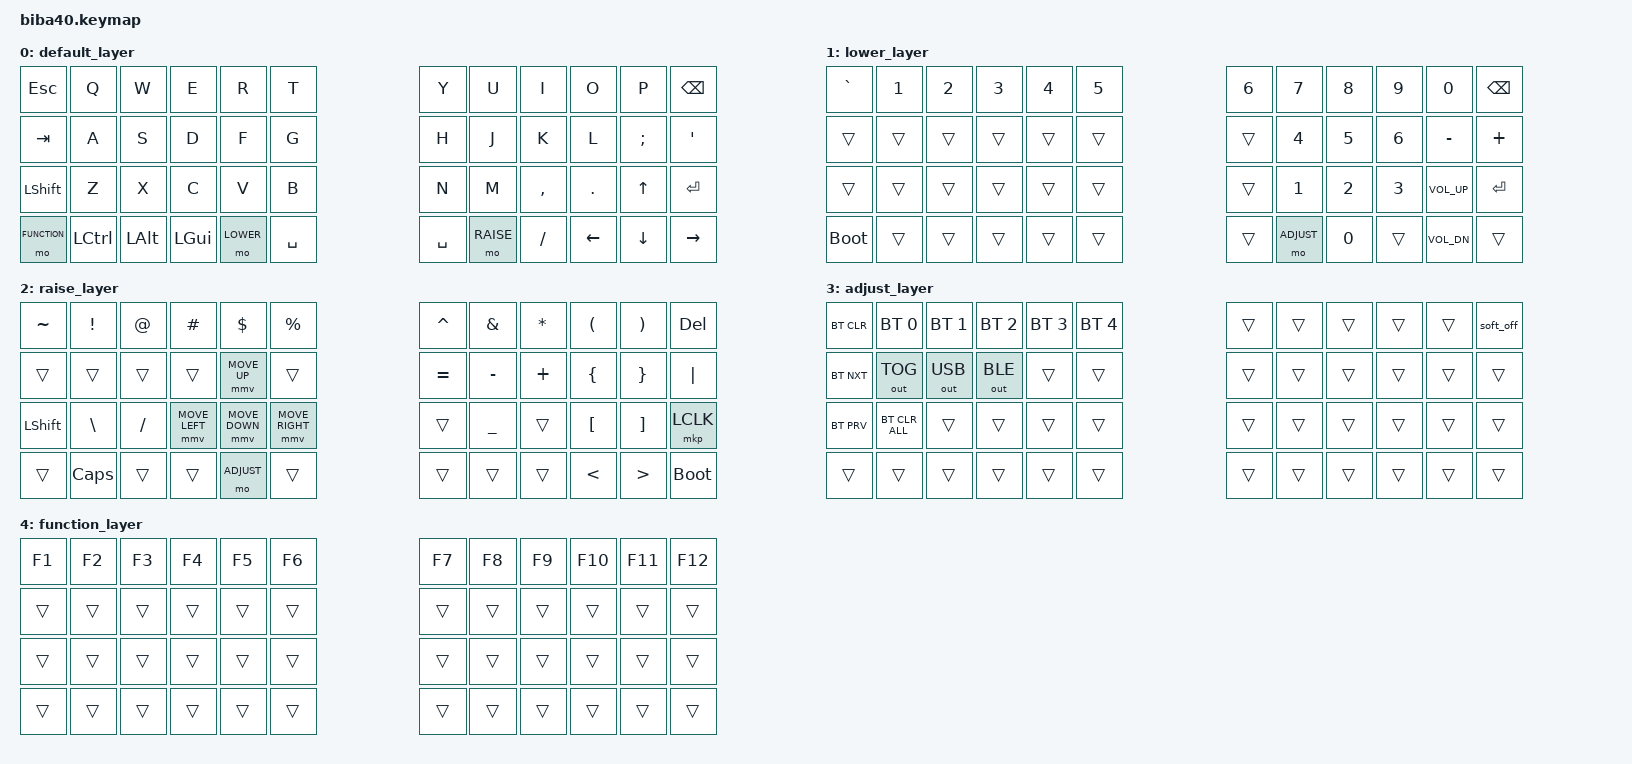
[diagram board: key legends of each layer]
/*
 * Copyright (c) 2020 The ZMK Contributors
 *
 * SPDX-License-Identifier: MIT
 */

 #include <behaviors.dtsi>
 #include <dt-bindings/zmk/keys.h>
 #include <dt-bindings/zmk/bt.h>
 #include <dt-bindings/zmk/rgb.h>
 #include <dt-bindings/zmk/ext_power.h>
 #include <dt-bindings/zmk/outputs.h>
 #include <dt-bindings/zmk/pointing.h>
 #include <behaviors/mouse_keys.dtsi>

 #define DEFAULT 0
 #define LOWER  1
 #define RAISE  2
 #define ADJUST 3
 #define FUNCTION 4

/* NOTE: At the time of the creation of this keymap, there are no specified codes for 'eisuu' and 'kana' input in ZMK.
However, 'LANG1' and 'LANG2' are fully-functioning candidates for 'kana' and 'eisuu' input respectively.
As such, those are in use within the default layer at this time.*/

&soft_off {
    hold-time-ms = <3000>; // Only turn off it the key is held for 3 seconds or longer.
};

/ {
       keymap {
              compatible = "zmk,keymap";

              default_layer {
 // ---------------------------------------------------------------------------------------------------------------------------------
 // |  ESC   |   Q    |   W    |   E    |   R    |   T    |                                      |   Y    |   U    |   I    |   O    |   P    |  BSPC  |
 // |  TAB  |   A    |   S    |   D    |   F    |   G    |                                      |   H    |   J    |   K    |   L    |   ;    |   "    |
 // |  SHIFT |   Z    |   X    |   C    |   V    |   B    |                                      |   N    |   M    |   ,    |   .    |   UP   |  ENTER |
 // | FUNC |  CTRL  |  LALT  |  LGUI  | LOWER  | SPACE  |                                      | SPACE  |  RAISE |  SLASH |  LEFT  |  DOWN  |  RIGHT |
                     bindings = <
       &kp ESC    &kp Q     &kp W    &kp E    &kp R     &kp T                                  &kp Y     &kp U     &kp I      &kp O      &kp P     &kp BSPC
       &kp TAB    &kp A     &kp S    &kp D    &kp F     &kp G                                  &kp H     &kp J     &kp K      &kp L      &kp SEMI  &kp SQT
       &kp LSHFT  &kp Z     &kp X    &kp C    &kp V     &kp B                                  &kp N     &kp M     &kp COMMA  &kp PERIOD &kp UP    &kp ENTER
       &mo FUNCTION &kp LCTRL &kp LALT &kp LGUI &mo LOWER &kp SPACE                              &kp SPACE &mo RAISE &kp SLASH  &kp LEFT   &kp DOWN  &kp RIGHT
                     >;
              };
              lower_layer {
 // ---------------------------------------------------------------------------------------------------------------------------------
 // |  `   |  1   |  2   |  3   |  4   |  5   |                                  |  6   |  7   |  8   |  9   |  0   | BSPC |
 // |      |      |      |      |      |      |                                  |      |  4   |  5   |  6   |  -   |   +  |
 // |      |      |      |      |      |      |                                  |      |  1   |  2   |  3   |VOL U | ENTER|
 // | BOOT |      |      |      |      |      |                                  |      |      |  0   |      |VOL D |      |
                     bindings = <
       &kp GRAVE   &kp N1   &kp N2  &kp N3   &kp N4   &kp N5                       &kp N6    &kp N7     &kp N8  &kp N9 &kp N0       &kp BSPC
       &trans      &trans   &trans  &trans   &trans   &trans                       &trans    &kp N4     &kp N5  &kp N6 &kp MINUS    &kp PLUS
       &trans      &trans   &trans  &trans   &trans   &trans                       &trans    &kp N1     &kp N2  &kp N3 &kp C_VOL_UP &kp ENTER
       &bootloader &trans   &trans  &trans   &trans   &trans                       &trans    &mo ADJUST &kp N0  &trans &kp C_VOL_DN &trans
                     >;
              };
              raise_layer {
 // ---------------------------------------------------------------------------------------------------------------------------------
 // |   ~   |   !   |   @   |   #   |   $   |   %   |                                    |   ^   |   &   |   *   |   (   |   )   |  DEL  |
 // |       |       |       |       |       |       |                                    |       |   -   |   =   |   [   |   ]   |   \   |
 // |       |       |       |       |       |       |                                    |       |       |       | LBKT  | RBKT  |       |
 // |       |       |       |       |       |       |                                    |       |       |       | LT    | GT    | BOOT  |
                     bindings = <
       &kp TILDE  &kp EXCL &kp AT   &kp HASH &kp DLLR   &kp PRCNT                    &kp CARET &kp AMPS        &kp ASTRK &kp LPAR &kp RPAR &kp DEL
       &trans     &trans   &trans   &trans   &mmv MOVE_UP     &trans                       &kp EQUAL    &kp MINUS       &kp PLUS  &kp LBRC &kp RBRC &kp PIPE
       &kp LSHFT  &kp BSLH &kp FSLH &mmv MOVE_LEFT   &mmv MOVE_DOWN  &mmv MOVE_RIGHT                       &trans    &kp UNDERSCORE  &trans    &kp LBKT &kp RBKT &mkp LCLK
       &trans     &kp CAPS &trans   &trans   &mo ADJUST &trans                       &trans    &trans          &trans    &kp LT   &kp GT   &bootloader
                     >;
              };
              adjust_layer {
 // ---------------------------------------------------------------------------------------------------------------------------------
 // |  BT CLR  | BT SEL0  | BT SEL1  | BT SEL2  | BGT SEL3 | BT SEL4  |                                          |          |          |          |          |          |          |
 // |  BT NXT  | OUT TOG  | OUT USB  | OUT BLE  |          |          |                                          |          |          |          |          |          |          |
 // |  BT PRV  |BT_CLR_ALL|          |          |          |          |                                          |          |          |          |          |          |          |
 // |          |          |          |          |          |          |                                          |          |          |          |          |          |          |
                     bindings = <
       &bt BT_CLR  &bt BT_SEL 0   &bt BT_SEL 1 &bt BT_SEL 2 &bt BT_SEL 3 &bt BT_SEL 4                          &trans &trans &trans &trans &trans &soft_off
       &bt BT_NXT  &out OUT_TOG   &out OUT_USB &out OUT_BLE &trans       &trans                                &trans &trans &trans &trans &trans &trans
       &bt BT_PRV  &bt BT_CLR_ALL &trans       &trans       &trans       &trans                                &trans &trans &trans &trans &trans &trans
       &trans      &trans         &trans       &trans       &trans       &trans                                &trans &trans &trans &trans &trans &trans
                     >;
              };
              function_layer {
 // ---------------------------------------------------------------------------------------------------------------------------------
 // |  F1    |  F2   |  F3   |  F4   |  F5   |  F6   |                                      |  F7   |  F8   |  F9   |  F10  |  F11  |  F12  |
 // |        |       |       |       |       |       |                                      |       |       |       |       |       |       |
 // |        |       |       |       |       |       |                                      |       |       |       |       |       |       |
 // |        |       |       |       |       |       |                                      |       |       |       |       |       |       |
                     bindings = <
       &kp F1 &kp F2 &kp F3 &kp F4 &kp F5 &kp F6                                &kp F7 &kp F8 &kp F9 &kp F10 &kp F11 &kp F12
       &trans &trans &trans &trans &trans &trans                                &trans &trans &trans &trans &trans &trans
       &trans &trans &trans &trans &trans &trans                                &trans &trans &trans &trans &trans &trans
       &trans &trans &trans &trans &trans &trans                                &trans &trans &trans &trans &trans &trans
                     >;
              };
       };
};
